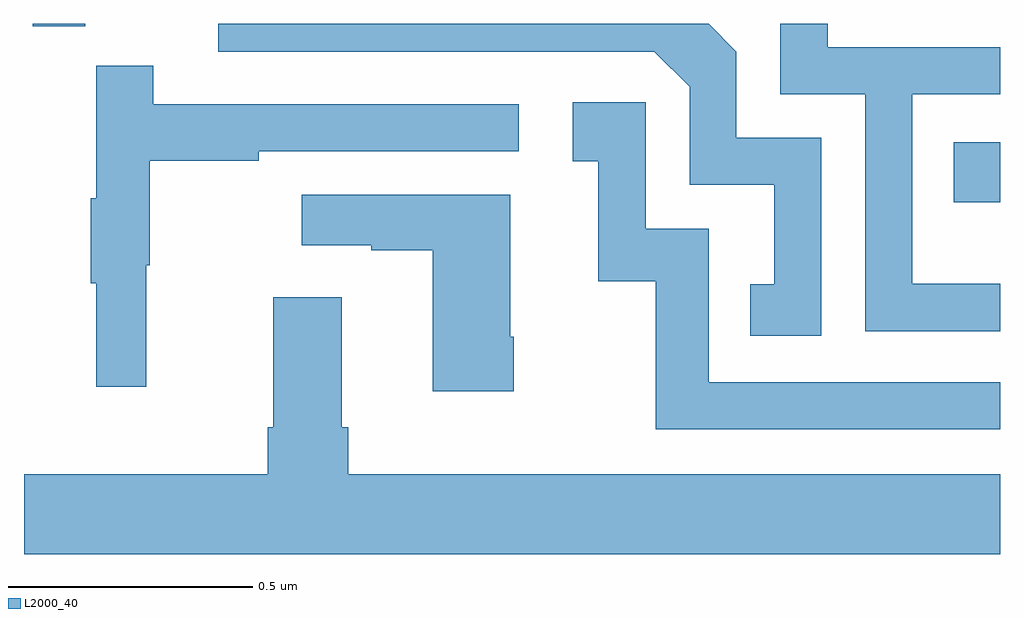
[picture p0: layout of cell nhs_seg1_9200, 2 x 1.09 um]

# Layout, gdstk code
import gdstk
lib = gdstk.Library(unit=1e-6, precision=1e-09)
def R(c, l, rs):  # rectangles x0, y0, x1, y1
    for r in rs: c.add(gdstk.rectangle(r[:2], r[2:], *l))
def P(c, l, *ps):  # polygons
    for p in ps: c.add(gdstk.Polygon(p, *l))
L2000_40 = (2000, 40)

nhs_seg1_9200 = lib.new_cell('nhs_seg1_9200')
R(nhs_seg1_9200, L2000_40, [(227.905,505.833,228,505.956), (226.018,506.194,226.126,506.199)])
P(nhs_seg1_9200, L2000_40, [(227.634,505.965),(227.46,505.965),(227.46,506.142),(227.403,506.199),(226.398,506.199),(226.398,506.142),(227.292,506.142),(227.364,506.07),(227.364,505.869),(227.537,505.869),(227.537,505.665),(227.488,505.665),(227.488,505.56),(227.634,505.56)],
  [(228,505.666),(227.82,505.666),(227.82,506.055),(228,506.055),(228,506.151),(227.647,506.151),(227.647,506.199),(227.55,506.199),(227.55,506.055),(227.724,506.055),(227.724,505.569),(228,505.569)],
  [(226.25,505.704),(226.258,505.704),(226.258,505.918),(226.481,505.918),(226.481,505.938),(227.014,505.938),(227.014,506.034),(226.265,506.034),(226.265,506.113),(226.148,506.113),(226.148,505.841),(226.137,505.841),(226.137,505.667),(226.148,505.667),(226.148,505.455),(226.25,505.455)],
  [(228,505.464),(227.403,505.464),(227.403,505.779),(227.274,505.779),(227.274,506.038),(227.124,506.038),(227.124,505.917),(227.177,505.917),(227.177,505.671),(227.295,505.671),(227.295,505.368),(228,505.368)],
  [(227.004,505.558),(226.996,505.558),(226.996,505.849),(226.569,505.849),(226.569,505.745),(226.712,505.745),(226.712,505.735),(226.838,505.735),(226.838,505.446),(227.004,505.446)],
  [(228,505.276),(226.664,505.276),(226.664,505.372),(226.651,505.372),(226.651,505.639),(226.511,505.639),(226.511,505.372),(226.499,505.372),(226.499,505.276),(226,505.276),(226,505.112),(228,505.112)])

lib.write_gds('nhs_seg1_9200.gds')
